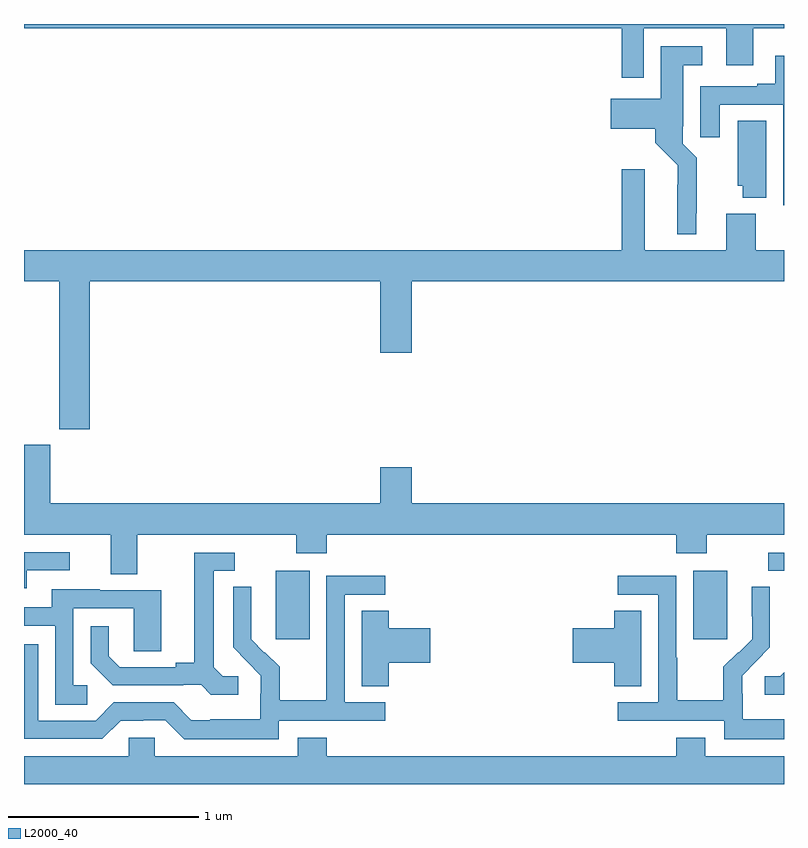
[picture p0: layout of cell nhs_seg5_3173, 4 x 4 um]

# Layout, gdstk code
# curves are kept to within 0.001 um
import gdstk
lib = gdstk.Library(unit=1e-6, precision=1e-09)
def R(c, l, rs):  # rectangles x0, y0, x1, y1
    for r in rs: c.add(gdstk.rectangle(r[:2], r[2:], *l))
def P(c, l, *ps):  # polygons
    for p in ps: c.add(gdstk.Polygon(p, *l))
L2000_40 = (2000, 40)

nhs_seg5_3173 = lib.new_cell('nhs_seg5_3173')
R(nhs_seg5_3173, L2000_40, [(296.324,837.561,296.503,837.922), (298.523,837.561,298.702,837.922), (298.917,837.921,299,838.017)])
P(nhs_seg5_3173, L2000_40, [(298.263,840.776),(298.697,840.776),(298.697,840.582),(298.837,840.582),(298.837,840.776),(299,840.776),(299,840.799),(295,840.799),(295,840.776),(298.147,840.776),(298.147,840.516),(298.263,840.516)],
  [(298.537,839.803),(298.541,839.803),(298.541,840.094),(298.467,840.168),(298.467,840.262),(298.471,840.262),(298.471,840.581),(298.57,840.581),(298.57,840.682),(298.352,840.682),(298.352,840.406),(298.089,840.406),(298.089,840.248),(298.322,840.248),(298.322,840.174),(298.44,840.056),(298.439,839.693),(298.537,839.693)],
  [(299,840.631),(298.955,840.631),(298.955,840.484),(298.859,840.484),(298.859,840.471),(298.559,840.471),(298.559,840.204),(298.663,840.204),(298.663,840.375),(298.997,840.375),(298.997,839.844),(299,839.844)],
  [(298.906,840.29),(298.757,840.29),(298.757,839.949),(298.784,839.949),(298.784,839.885),(298.906,839.885)],
  [(295.346,839.444),(296.876,839.444),(296.876,839.07),(297.04,839.07),(297.04,839.444),(299,839.444),(299,839.608),(298.85,839.608),(298.85,839.8),(298.697,839.8),(298.697,839.608),(298.267,839.608),(298.267,840.034),(298.145,840.034),(298.145,839.608),(295,839.608),(295,839.444),(295.186,839.444),(295.186,838.665),(295.346,838.665)],
  [(295.597,838.112),(296.434,838.112),(296.434,838.013),(296.594,838.013),(296.594,838.112),(298.433,838.112),(298.433,838.013),(298.593,838.013),(298.593,838.112),(299,838.112),(299,838.276),(297.04,838.276),(297.04,838.465),(296.876,838.465),(296.876,838.276),(295.138,838.276),(295.138,838.585),(295,838.585),(295,838.112),(295.457,838.112),(295.457,837.904),(295.597,837.904)],
  [(295.015,837.924),(295.24,837.924),(295.24,838.02),(295,838.02),(295,837.828),(295.015,837.828)],
  [(296.128,837.366),(296.046,837.366),(295.999,837.413),(295.999,837.921),(296.11,837.921),(296.11,838.017),(295.895,838.017),(295.895,837.437),(295.799,837.437),(295.799,837.414),(295.504,837.414),(295.447,837.471),(295.447,837.628),(295.35,837.628),(295.35,837.434),(295.466,837.318),(295.838,837.318),(295.838,837.321),(295.932,837.321),(295.984,837.269),(296.128,837.269)],
  [(299,837.139),(298.782,837.139),(298.782,837.273),(298.78,837.273),(298.78,837.37),(298.926,837.518),(298.926,837.836),(298.83,837.836),(298.83,837.682),(298.832,837.682),(298.832,837.56),(298.761,837.489),(298.758,837.492),(298.681,837.415),(298.681,837.241),(298.437,837.241),(298.437,837.464),(298.434,837.464),(298.434,837.894),(298.125,837.894),(298.125,837.795),(298.338,837.795),(298.338,837.228),(298.125,837.228),(298.125,837.132),(298.686,837.132),(298.686,837.035),(299,837.035)],
  [(296.34,837.132),(296.902,837.132),(296.902,837.228),(296.688,837.228),(296.688,837.795),(296.902,837.795),(296.902,837.894),(296.592,837.894),(296.592,837.464),(296.59,837.464),(296.59,837.241),(296.345,837.241),(296.345,837.415),(296.268,837.492),(296.265,837.489),(296.195,837.56),(296.196,837.836),(296.1,837.836),(296.1,837.518),(296.246,837.37),(296.246,837.273),(296.244,837.273),(296.244,837.139),(295.981,837.139),(295.981,837.135),(295.881,837.135),(295.788,837.228),(295.473,837.228),(295.377,837.132),(295.074,837.132),(295.074,837.534),(295,837.534),(295,837.036),(295.413,837.036),(295.509,837.132),(295.628,837.132),(295.628,837.135),(295.743,837.135),(295.843,837.035),(296.34,837.035)],
  [(295.333,837.318),(295.26,837.318),(295.26,837.723),(295.578,837.723),(295.578,837.499),(295.723,837.499),(295.723,837.819),(295.399,837.819),(295.399,837.823),(295.145,837.823),(295.145,837.729),(295,837.729),(295,837.633),(295.164,837.633),(295.164,837.217),(295.333,837.217)],
  [(298.249,837.71),(298.106,837.71),(298.106,837.62),(297.888,837.62),(297.888,837.437),(298.106,837.437),(298.106,837.313),(298.249,837.313)],
  [(296.921,837.437),(297.139,837.437),(297.139,837.62),(296.921,837.62),(296.921,837.71),(296.777,837.71),(296.777,837.313),(296.921,837.313)],
  [(299,837.386),(298.98,837.366),(298.899,837.366),(298.899,837.269),(299,837.269)],
  [(299,836.944),(298.585,836.944),(298.585,837.043),(298.433,837.043),(298.433,836.944),(296.594,836.944),(296.594,837.043),(296.441,837.043),(296.441,836.944),(295.689,836.944),(295.689,837.042),(295.551,837.042),(295.551,836.944),(295,836.944),(295,836.799),(299,836.799)])

lib.write_gds('nhs_seg5_3173.gds')
